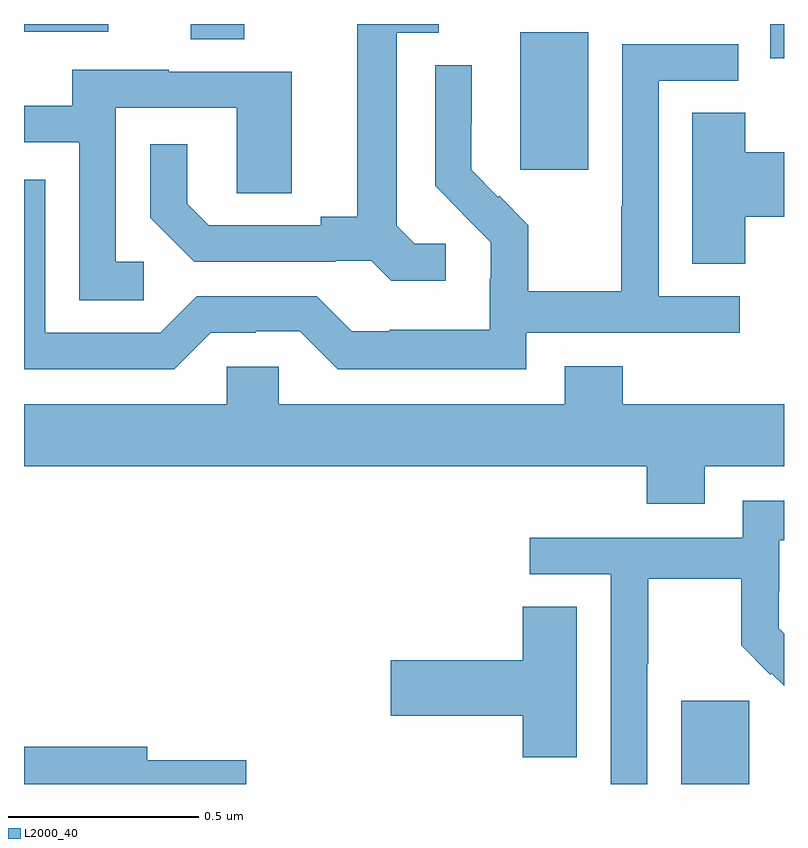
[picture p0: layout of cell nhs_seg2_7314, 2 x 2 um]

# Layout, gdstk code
import gdstk
lib = gdstk.Library(unit=1e-6, precision=1e-09)
def R(c, l, rs):  # rectangles x0, y0, x1, y1
    for r in rs: c.add(gdstk.rectangle(r[:2], r[2:], *l))
def P(c, l, *ps):  # polygons
    for p in ps: c.add(gdstk.Polygon(p, *l))
L2000_40 = (2000, 40)

nhs_seg2_7314 = lib.new_cell('nhs_seg2_7314')
R(nhs_seg2_7314, L2000_40, [(203.729,646.8,203.908,647.019), (203.306,648.417,203.485,648.778), (203.964,648.71,204,648.8), (202.439,648.76,202.579,648.8), (202,648.78,202.222,648.8)])
P(nhs_seg2_7314, L2000_40, [(203.11,648.222),(203.028,648.222),(202.981,648.269),(202.981,648.777),(203.092,648.777),(203.092,648.8),(202.877,648.8),(202.877,648.293),(202.781,648.293),(202.781,648.27),(202.486,648.27),(202.429,648.327),(202.429,648.484),(202.332,648.484),(202.332,648.29),(202.448,648.174),(202.82,648.174),(202.82,648.177),(202.914,648.177),(202.966,648.125),(203.11,648.125)],
  [(203.322,647.988),(203.884,647.988),(203.884,648.084),(203.67,648.084),(203.67,648.651),(203.879,648.651),(203.879,648.747),(203.574,648.747),(203.574,648.32),(203.572,648.32),(203.572,648.097),(203.327,648.097),(203.327,648.271),(203.25,648.348),(203.247,648.345),(203.177,648.416),(203.177,648.538),(203.178,648.538),(203.178,648.692),(203.082,648.692),(203.082,648.374),(203.155,648.301),(203.154,648.3),(203.228,648.226),(203.228,648.129),(203.226,648.129),(203.226,647.995),(202.963,647.995),(202.963,647.991),(202.863,647.991),(202.77,648.084),(202.455,648.084),(202.359,647.988),(202.056,647.988),(202.056,648.39),(202,648.39),(202,647.892),(202.395,647.892),(202.491,647.988),(202.61,647.988),(202.61,647.991),(202.725,647.991),(202.825,647.891),(203.322,647.891)],
  [(202.315,648.174),(202.242,648.174),(202.242,648.579),(202.56,648.579),(202.56,648.355),(202.705,648.355),(202.705,648.675),(202.381,648.675),(202.381,648.679),(202.127,648.679),(202.127,648.585),(202,648.585),(202,648.489),(202.146,648.489),(202.146,648.073),(202.315,648.073)],
  [(203.898,648.293),(204,648.293),(204,648.463),(203.898,648.463),(203.898,648.566),(203.759,648.566),(203.759,648.169),(203.898,648.169)],
  [(202.533,647.898),(202.533,647.8),(202,647.8),(202,647.636),(203.639,647.636),(203.639,647.537),(203.791,647.537),(203.791,647.636),(204,647.636),(204,647.8),(203.576,647.8),(203.576,647.899),(203.423,647.899),(203.423,647.8),(202.671,647.8),(202.671,647.898)],
  [(203.64,647.116),(203.643,647.116),(203.643,647.34),(203.887,647.34),(203.887,647.165),(203.964,647.088),(203.967,647.091),(204,647.058),(204,647.196),(203.986,647.21),(203.986,647.307),(203.988,647.307),(203.988,647.441),(204,647.441),(204,647.545),(203.892,647.545),(203.892,647.448),(203.331,647.448),(203.331,647.352),(203.544,647.352),(203.544,646.8),(203.64,646.8)],
  [(203.455,647.267),(203.312,647.267),(203.312,647.126),(202.965,647.126),(202.965,646.979),(203.312,646.979),(203.312,646.87),(203.455,646.87)],
  [(202.585,646.862),(202.324,646.862),(202.324,646.898),(202,646.898),(202,646.8),(202.585,646.8)])

lib.write_gds('nhs_seg2_7314.gds')
